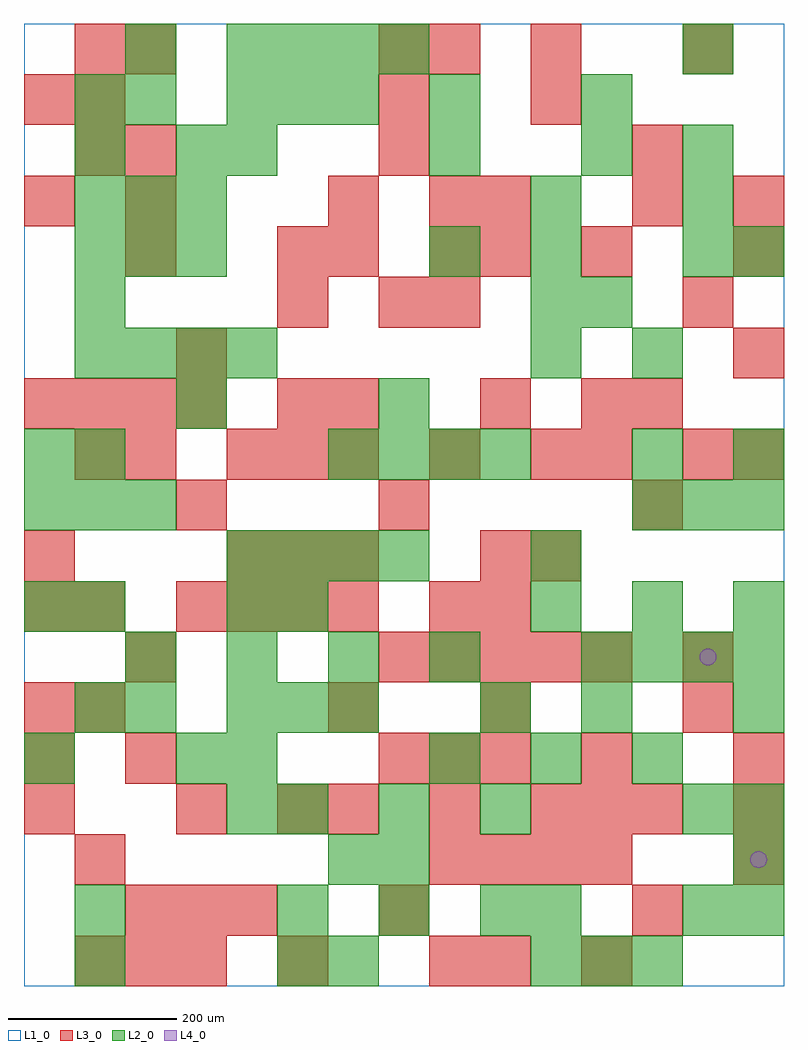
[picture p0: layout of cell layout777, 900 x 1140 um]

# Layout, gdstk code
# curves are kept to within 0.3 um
import gdstk
lib = gdstk.Library(unit=1e-6, precision=1e-09)
def R(c, l, rs):  # rectangles x0, y0, x1, y1
    for r in rs: c.add(gdstk.rectangle(r[:2], r[2:], *l))
def A(c, l, x, y, w, h, nx, ny, dx, dy):  # array of equal rectangles
    R(c, l, [(x+i*dx, y+j*dy, x+i*dx+w, y+j*dy+h) for i in range(nx) for j in range(ny)])
def P(c, l, *ps):  # polygons
    for p in ps: c.add(gdstk.Polygon(p, *l))
L1_0 = (1, 0)
L2_0 = (2, 0)
L3_0 = (3, 0)
L4_0 = (4, 0)

layout777 = lib.new_cell('layout777')
R(layout777, L1_0, [(0,0,900,1140)])
A(layout777, L2_0, 600, 0, 60, 60, 3, 1, 60, 0)
A(layout777, L2_0, 300, 60, 60, 60, 3, 2, 120, 120)
A(layout777, L2_0, 840, 60, 60, 60, 1, 3, 0, 60)
A(layout777, L2_0, 0, 240, 60, 60, 1, 3, 0, 180)
A(layout777, L2_0, 480, 240, 60, 60, 3, 1, 120, 0)
A(layout777, L2_0, 240, 300, 60, 60, 3, 2, 60, 720)
A(layout777, L2_0, 120, 360, 60, 60, 4, 1, 120, 0)
A(layout777, L2_0, 660, 360, 60, 60, 4, 1, 60, 0)
A(layout777, L2_0, 60, 420, 60, 60, 1, 4, 0, 180)
A(layout777, L2_0, 600, 420, 60, 60, 3, 1, 120, 0)
A(layout777, L2_0, 240, 480, 60, 60, 4, 2, 60, 600)
A(layout777, L2_0, 0, 540, 60, 60, 3, 1, 60, 0)
A(layout777, L2_0, 720, 540, 60, 60, 3, 1, 60, 0)
A(layout777, L2_0, 360, 600, 60, 60, 4, 1, 60, 0)
A(layout777, L2_0, 60, 720, 60, 60, 4, 1, 60, 0)
A(layout777, L2_0, 600, 720, 60, 60, 1, 4, 0, 60)
A(layout777, L2_0, 60, 840, 60, 60, 3, 2, 60, 60)
A(layout777, L2_0, 780, 840, 60, 60, 1, 3, 0, 60)
R(layout777, L2_0, [(60,0,120,60), (300,0,360,60), (360,0,420,60), (60,60,120,120), (600,60,660,120), (780,60,840,120), (360,120,420,180), (420,120,480,180), (240,180,300,240), (780,180,840,240), (180,240,240,300), (240,240,300,300), (60,300,120,360), (120,300,180,360), (540,300,600,360), (660,300,720,360), (840,300,900,360), (240,420,300,480), (300,420,360,480), (600,480,660,540), (720,600,780,660), (840,600,900,660), (180,660,240,720), (420,660,480,720), (720,720,780,780), (660,780,720,840), (480,840,540,900), (840,840,900,900), (180,960,240,1020), (240,960,300,1020), (480,960,540,1020), (660,960,720,1020), (60,1020,120,1080), (120,1020,180,1080), (480,1020,540,1080), (660,1020,720,1080), (120,1080,180,1140), (780,1080,840,1140)])
A(layout777, L3_0, 60, 0, 60, 60, 3, 1, 60, 0)
A(layout777, L3_0, 120, 60, 60, 60, 3, 1, 60, 0)
A(layout777, L3_0, 480, 120, 60, 60, 4, 1, 60, 0)
A(layout777, L3_0, 840, 120, 60, 60, 1, 3, 0, 60)
A(layout777, L3_0, 0, 180, 60, 60, 1, 3, 0, 60)
A(layout777, L3_0, 360, 180, 60, 60, 3, 1, 120, 0)
A(layout777, L3_0, 420, 240, 60, 60, 3, 1, 60, 0)
A(layout777, L3_0, 120, 360, 60, 60, 1, 3, 0, 240)
A(layout777, L3_0, 420, 360, 60, 60, 5, 1, 60, 0)
A(layout777, L3_0, 180, 420, 60, 60, 4, 1, 60, 0)
A(layout777, L3_0, 480, 420, 60, 60, 1, 3, 0, 180)
A(layout777, L3_0, 240, 480, 60, 60, 3, 2, 60, 120)
A(layout777, L3_0, 540, 480, 60, 60, 1, 3, 0, 180)
A(layout777, L3_0, 420, 540, 60, 60, 1, 3, 0, 240)
A(layout777, L3_0, 840, 600, 60, 60, 1, 3, 0, 120)
A(layout777, L3_0, 0, 660, 60, 60, 4, 1, 60, 0)
A(layout777, L3_0, 60, 960, 60, 60, 1, 3, 0, 60)
A(layout777, L3_0, 120, 960, 60, 60, 3, 1, 300, 0)
R(layout777, L3_0, [(300,0,360,60), (480,0,540,60), (540,0,600,60), (660,0,720,60), (420,60,480,120), (720,60,780,120), (60,120,120,180), (180,180,240,240), (300,180,360,240), (660,180,720,240), (720,180,780,240), (120,240,180,300), (660,240,720,300), (60,300,120,360), (360,300,420,360), (540,300,600,360), (780,300,840,360), (780,360,840,420), (0,420,60,480), (60,420,120,480), (540,420,600,480), (0,480,60,540), (600,480,660,540), (180,540,240,600), (720,540,780,600), (60,600,120,660), (600,600,660,660), (660,600,720,660), (780,600,840,660), (300,660,360,720), (360,660,420,720), (660,660,720,720), (720,660,780,720), (180,720,240,780), (300,780,360,840), (780,780,840,840), (300,840,360,900), (360,840,420,900), (480,840,540,900), (660,840,720,900), (0,900,60,960), (120,900,180,960), (360,900,420,960), (480,900,540,960), (540,900,600,960), (720,900,780,960), (840,900,900,960), (0,1020,60,1080), (600,1020,660,1080), (120,1080,180,1140), (420,1080,480,1140), (480,1080,540,1140), (600,1080,660,1140), (780,1080,840,1140)])
P(layout777, L4_0, [(820,390),(819.239,393.827),(817.071,397.071),(813.827,399.239),(810,400),(806.173,399.239),(802.929,397.071),(800.761,393.827),(800,390),(800.761,386.173),(802.929,382.929),(806.173,380.761),(810,380),(813.827,380.761),(817.071,382.929),(819.239,386.173)],
  [(880,150),(879.239,153.827),(877.071,157.071),(873.827,159.239),(870,160),(866.173,159.239),(862.929,157.071),(860.761,153.827),(860,150),(860.761,146.173),(862.929,142.929),(866.173,140.761),(870,140),(873.827,140.761),(877.071,142.929),(879.239,146.173)])

lib.write_gds('layout777.gds')
